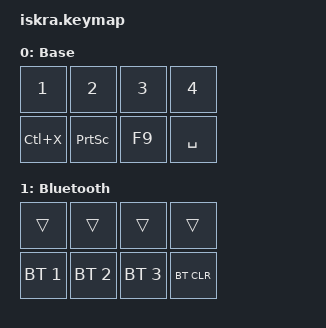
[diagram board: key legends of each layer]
#include <behaviors.dtsi>
#include <dt-bindings/zmk/keys.h>
#include <dt-bindings/zmk/bt.h>

/ {
	keymap {
		compatible = "zmk,keymap";

		base {
			display-name = "Base";
			bindings = <
				&kp N1  &kp N2  &kp N3 &kp N4
				&kp LC(X)  &kp PSCRN  &kp F9  &kp SPACE
			>;
		};

		bt_layer {
			display-name = "Bluetooth";
			bindings = <
				&trans &trans &trans &trans
				&bt BT_SEL 1 &bt BT_SEL 2 &bt BT_SEL 3 &bt BT_CLR
			>;
		};
	};

	combos {
		compatible = "zmk,combos";
		combo_base: combo_base { timeout-ms = <150>; key-positions = <0 1 2>; bindings = <&to 0>; };
        combo_bt: combo_bt { timeout-ms = <150>; key-positions = <3 4 5>; bindings = <&to 1>; };
		combo_studio_unlock: combo_studio_unlock { timeout-ms = <150>; key-positions = <6 7>; bindings = <&studio_unlock>; };
	};
};

